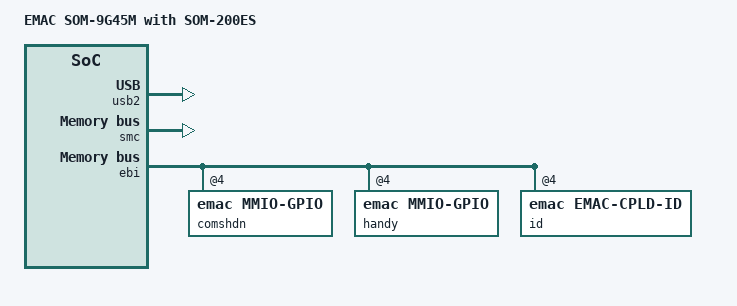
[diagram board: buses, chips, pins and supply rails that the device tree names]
/*
 * som-9g45-200es.dts - Device Tree file for SOM-9G45 on the SOM-200ES.
 *
 *  Copyright (C) 2014 EMAC Inc
 *
 * Licensed under GPLv2 or later.
 */
/dts-v1/;
#include "som-9g45.dtsi"

/ {
	model = "EMAC SOM-9G45M with SOM-200ES";

	ahb {
		apb {
			mmc1: mmc@fffd0000 {
				slot@0 {
					cd-gpios = <&pioA 27 GPIO_ACTIVE_LOW>;
					wp-gpios = <&pioD 14 GPIO_ACTIVE_LOW>;
				};
			};

			pinctrl@fffff200 {
				mmc1 {
					pinctrl_board_mmc1: mmc1-board {
						atmel,pins =
							<AT91_PIOA 27 AT91_PERIPH_GPIO AT91_PINCTRL_PULL_UP_DEGLITCH
							 AT91_PIOD 14 AT91_PERIPH_GPIO AT91_PINCTRL_PULL_UP>;
					};
				};

				smc05 {
					pinctrl_smc: smc05-board {
						atmel,pins =
							<AT91_PIOC 10 AT91_PERIPH_A AT91_PINCTRL_PULL_UP
							 AT91_PIOC 13 AT91_PERIPH_A AT91_PINCTRL_PULL_UP>;
					};
				};
			};

			usb2: gadget@fff78000 {
				atmel,vbus-gpio = <&pioB 11 GPIO_ACTIVE_HIGH>;
				status = "okay";
			};

			smc: smc@ffffe800 {
				compatible = "atmel,at91sam9260-smc", "syscon";
				reg = <0xffffe800 0x200>;
			};

			matrix: matrix@ffffea00 {
				compatible = "atmel,at91sam9g45-matrix", "syscon";
				reg = <0xffffea00 0x200>;
			};
		};

		ebi: ebi@10000000 {
			compatible = "atmel,at91sam9g45-ebi";
			#address-cells = <2>;
			#size-cells = <1>;
			atmel,smc = <&smc>;
			atmel,matrix = <&matrix>;
			reg = <0x10000000 0x60000000>;
			ranges = <0x0 0x0 0x10000000 0x10000000
				  0x1 0x0 0x20000000 0x10000000
				  0x2 0x0 0x30000000 0x10000000
				  0x3 0x0 0x40000000 0x10000000
				  0x4 0x0 0x50000000 0x10000000
				  0x5 0x0 0x60000000 0x10000000>;
			clocks = <&mck>;

			pinctrl-names = "default";
			pinctrl-0 = <&pinctrl_smc>;

			portc@4,4 {
				compatible = "emac,mmio-gpio";
				reg-names = "dat";
				reg = <4 4 1>;
				gpio-controller;
				no-input;
				#address-cells = <1>;
				#size-cells = <1>;
				#gpio-cells = <1>;
				bank-width = <1>;

				atmel,smc-read-mode = "nrd";
				atmel,smc-write-mode = "nwe";
				atmel,smc-bus-width = <8>;
				atmel,smc-ncs-rd-setup-ns = <8>;
				atmel,smc-ncs-wr-setup-ns = <8>;
				atmel,smc-nwe-setup-ns = <16>;
				atmel,smc-nrd-setup-ns = <16>;
				atmel,smc-ncs-rd-pulse-ns = <40>;
				atmel,smc-ncs-wr-pulse-ns = <40>;
				atmel,smc-nrd-pulse-ns = <24>;
				atmel,smc-nwe-pulse-ns = <24>;
				atmel,smc-nrd-cycle-ns = <64>;
				atmel,smc-nwe-cycle-ns = <64>;
				atmel,smc-tdf-ns = <16>;
			};

			portb@4,2 {
				compatible = "emac,mmio-gpio";
				reg-names = "dat", "dirout";
				reg = <4 2 1>, <4 3 1>;
				gpio-controller;
				#address-cells = <1>;
				#size-cells = <1>;
				#gpio-cells = <1>;
				bank-width = <1>;
			};

			porta@4,0 {
				compatible = "emac,mmio-gpio";
				reg-names = "dat", "dirout";
				reg = <4 0 1>, <4 1 1>;
				gpio-controller;
				#address-cells = <1>;
				#size-cells = <1>;
				#gpio-cells = <1>;
				bank-width = <1>;
			};

			comshdn@4,6 {
				compatible = "emac,mmio-gpio";
				reg-names = "dat";
				reg = <4 6 1>;
				gpio-controller;
				no-input;
				#address-cells = <1>;
				#size-cells = <1>;
				#gpio-cells = <1>;
				bank-width = <1>;
			};

			handy@4,8 {
				compatible = "emac,mmio-gpio";
				reg-names = "dat", "dirout";
				reg = <4 8 1>, <4 9 1>;
				gpio-controller;
				#address-cells = <1>;
				#size-cells = <1>;
				#gpio-cells = <1>;
				bank-width = <1>;
			};

			id@4,7 {
				compatible = "emac,emac-cpld-id";
				reg = <4 7 1>;
				#address-cells = <1>;
				#size-cells = <1>;

				atmel,smc-read-mode = "nrd";
				atmel,smc-write-mode = "nwe";
				atmel,smc-bus-width = <8>;
				atmel,smc-ncs-rd-setup-ns = <8>;
				atmel,smc-ncs-wr-setup-ns = <8>;
				atmel,smc-nwe-setup-ns = <16>;
				atmel,smc-nrd-setup-ns = <16>;
				atmel,smc-ncs-rd-pulse-ns = <40>;
				atmel,smc-ncs-wr-pulse-ns = <40>;
				atmel,smc-nrd-pulse-ns = <24>;
				atmel,smc-nwe-pulse-ns = <24>;
				atmel,smc-nrd-cycle-ns = <64>;
				atmel,smc-nwe-cycle-ns = <64>;
				atmel,smc-tdf-ns = <16>;
			};
		};
	};

	sound {
		compatible = "simple-audio-card";
		simple-audio-card,name = "cs4271 @ SOM9G45";
		simple-audio-card,format = "i2s";
		simple-audio-card,bitclock-master = <&codec_master>;
		simple-audio-card,frame-master = <&codec_master>;
		simple-audio-card,widgets =
			"Line", "Line In",
			"Line", "Line Out";
		simple-audio-card,routing =
			"Line In", "Capture",
			"Line Out", "Playback";

		cpu_master: simple-audio-card,cpu {
			sound-dai = <&ssc0>;
		};

		codec_master: simple-audio-card,codec {
			sound-dai = <&cs4271>;
			clocks = <&si5351 2>;
		};
	};

	gpio-leds {
		led2-carrier {
			label = "carrier-led";
			gpios = <&pioD 11 GPIO_ACTIVE_LOW>;
			default-state = "on";
			linux,default-trigger = "mmc1";
		};
	};
};
